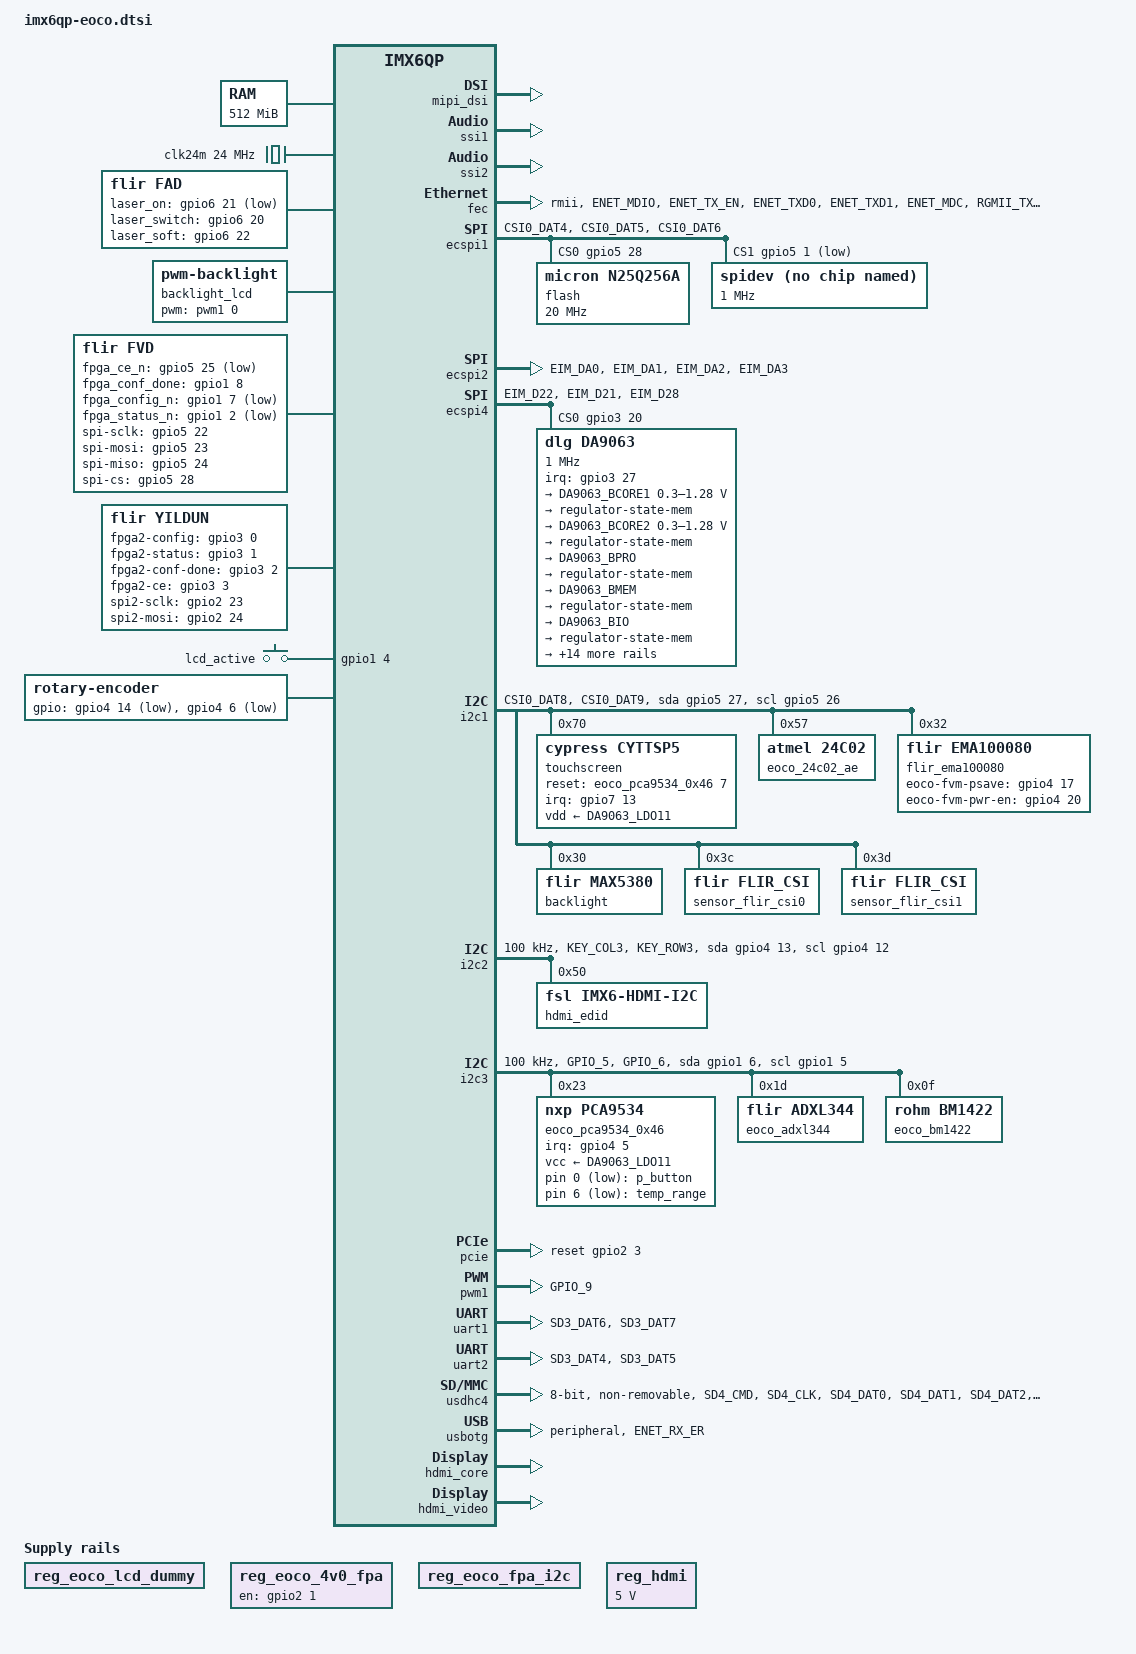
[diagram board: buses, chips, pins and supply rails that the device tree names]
/*
 * Copyright 2015 FLIR Systems.
 *
 * The code contained herein is licensed under the GNU General Public
 * License. You may obtain a copy of the GNU General Public License
 * Version 2 or later at the following locations:
 *
 * http://www.opensource.org/licenses/gpl-license.html
 * http://www.gnu.org/copyleft/gpl.html
 */

#include <dt-bindings/gpio/gpio.h>
#include <dt-bindings/regulator/dlg,da9063-regulator.h>

/ {
	aliases {
		mxcfb0 = &mxcfb1;
		mxcfb1 = &mxcfb2;
		mxcfb2 = &mxcfb3;

		mmc0 = &usdhc4;
		mmc1 = &usdhc1;
		mmc2 = &usdhc2;
		mmc3 = &usdhc3;

		ethernet0 = &fec;
	};

	memory {
		reg = <0x10000000 0x20000000>;
	};

	clocks {
		clk24m: clk24m {
			compatible = "fixed-clock";
			#clock-cells = <0>;
			clock-frequency = <24000000>;
		};
	};

	regulators {
		compatible = "simple-bus";

		reg_eoco_lcd_dummy: reg_eoco_lcd_dummy {
			compatible = "regulator-fixed";
			regulator-name = "lcd_dummy";
		};

		reg_eoco_4v0_fpa: eoco_4v0_fpa {
			compatible = "regulator-fixed";
			regulator-name = "4V0_fpa";
			gpio = <&gpio2 1 0>;
			enable-active-high;
		};

		/*Removed on eoco-d but required by fvdk*/
		reg_eoco_fpa_i2c: eoco_fpa_i2c {
			compatible = "regulator-fixed";
			regulator-name = "fpa_i2c";
			enable-active-high;
		};

		/* Done with IC22 TPS2553DBV on eoco */
		reg_hdmi: regulator-hdmi {
			compatible = "regulator-fixed";
			regulator-name = "hdmi-5v-supply";
			regulator-min-microvolt = <5000000>;
			regulator-max-microvolt = <5000000>;
		};
	};

	fad {
		compatible = "flir,fad";
		hasLaser = <1>;
		HasSoftwareControlledLaser = <1>;
		hasGPS = <1>;
		// "Laser_on" corresponds to "laser_on_time" and acts as input for
		// Reading current state of laser
		laser_on-gpios = <&gpio6 21 GPIO_ACTIVE_LOW>;
		// "Laser_switch" corresponds to "laser_on" and acts as enable/disable
		// for laser function
		laser_switch-gpios = <&gpio6 20 GPIO_ACTIVE_HIGH>;
		// "Laser_soft" corresponds to "laser_light" and acts as software controlled
		// laser button override. This differs from roco-design were laser_soft bypass
		// laser_on.
		laser_soft-gpios = <&gpio6 22 GPIO_ACTIVE_HIGH>;
		standbyMinutes = <360>;  // 360 = 6 hours
	};

	boards{
		mainboard{
			article = <0>;
			rev = <0>;
		};
		evro{
			article = <0>;
			rev = <0>;
		};
	};

	u-boot{
		version = "Unkown";
		reset-cause = "Unkown";
	};

	mxcfb1: fb@0 {
		compatible = "fsl,mxc_sdc_fb";
		disp_dev = "mipi_dsi";
		interface_pix_fmt = "RGB24";
		mode_str ="TRULY-VGA";
		default_bpp = <32>;
		int_clk = <0>;
		late_init = <0>;
		bootlogo = <0x0 0x0>;
		status = "okay";
	};

	mxcfb2: fb@1 {
		compatible = "fsl,mxc_sdc_fb";
		interface_pix_fmt = "RGB24";
		default_bpp = <32>;
		int_clk = <0>;
		late_init = <0>;
		status = "okay";
		disp_dev = "lcd";
		mode_str ="FLIR-VF";
	};

	mxcfb3: fb@2 {
		compatible = "fsl,mxc_sdc_fb";
		disp_dev = "hdmi";
		interface_pix_fmt = "RGB24";
		mode_str ="640x480M@60";
		default_bpp = <32>;
		int_clk = <0>;
		late_init = <0>;
		status = "okay";
	};

	backlight_lcd: backlight_lcd {
		compatible = "pwm-backlight";
		pwms = <&pwm1 0 50000>; //50us=20KHz 
		brightness-levels = <0 10 20 30 40 50 60 70 80 90 100>;
		default-brightness-level = <7>;
		status = "okay";
	};

	v4l2_cap_0 {
		compatible = "fsl,imx6q-v4l2-capture";
		ipu_id = <0>;
		csi_id = <0>;
		videoflow_method = <1>;
		mclk_source = <0>;
		status = "okay";
	};

	v4l2_cap_1 {
		compatible = "fsl,imx6q-v4l2-capture";
		ipu_id = <0>;
		csi_id = <1>;
		videoflow_method = <1>;
		mclk_source = <0>;
		status = "okay";
	};

	v4l2_out {
		compatible = "fsl,mxc_v4l2_output";
		status = "okay";
	};

	fvd {
		compatible = "flir,fvd";
		pinctrl-names = "default";
		pinctrl-0 = <&pinctrl_fvd>;

		fpga_ce_n = <&gpio5 25 GPIO_ACTIVE_LOW>;
		fpga_conf_done = <&gpio1 8 GPIO_ACTIVE_HIGH>;
		fpga_config_n = <&gpio1 7 GPIO_ACTIVE_LOW>;
		fpga_status_n = <&gpio1 2 GPIO_ACTIVE_LOW>;

		spi-sclk-gpio = <&gpio5 22 GPIO_ACTIVE_HIGH>;
		spi-mosi-gpio = <&gpio5 23 GPIO_ACTIVE_HIGH>;
		spi-miso-gpio = <&gpio5 24 GPIO_ACTIVE_HIGH>;
		spi-cs-gpio = <&gpio5 28 GPIO_ACTIVE_HIGH>;
	};

	lcd@0 {
		compatible = "fsl,lcd";
		ipu_id = <0>;
		disp_id = <0>;
		default_ifmt = "RGB24";
		pinctrl-names = "default";
		pinctrl-0 = <&pinctrl_ipu1>;
		display = <&lcdtiming>;
		status = "okay";
	};

	lcdtiming: lcdtiming {
		display-timings {
			timing {
				clock-frequency = <25175000>;
				hactive = <800>;
				vactive = <600>;
				hfront-porch = <40>;
				hback-porch = <88>;
				hsync-len = <128>;
				vback-porch = <16>;
				vfront-porch = <1>;
				vsync-len = <23>;
				pixelclk-active = <0>;
			};
		};
	};

	yildun {
		compatible = "flir,yildun";
		pinctrl-names = "default", "idle";
		pinctrl-0 = <&pinctrl_yildun_spi>;
		pinctrl-1 = <&pinctrl_yildun_spi_idle>;
		fpga2-config-gpio	= <&gpio3 0 GPIO_ACTIVE_HIGH>;
		fpga2-status-gpio	= <&gpio3 1 GPIO_ACTIVE_HIGH>;
		fpga2-conf-done-gpio 	= <&gpio3 2 GPIO_ACTIVE_HIGH>;
		fpga2-ce-gpio		= <&gpio3 3 GPIO_ACTIVE_HIGH>;
		spi2-sclk-gpio		= <&gpio2 23 GPIO_ACTIVE_HIGH>;
		spi2-mosi-gpio		= <&gpio2 24 GPIO_ACTIVE_HIGH>;
	};

	eobu_switch {
		compatible = "gpio-keys";
		autorepeat;
		p_button {
			label = "p_button";
			gpio-key;
			gpios = <&eoco_pca9534_0x46 0 GPIO_ACTIVE_LOW>;
			linux,code = <KEY_F9>;
		};
		temp_range {
			label = "temp_range";
			gpio-key;
			gpios = <&eoco_pca9534_0x46 6 GPIO_ACTIVE_LOW>;
			linux,code = <KEY_F4>;
		};
	};

	eoco_switch {
		compatible = "gpio-keys";
		autorepeat;
		lcd_active {
			label = "lcd_active";
			gpio-key;
			gpios =  <&gpio1 4 GPIO_ACTIVE_HIGH>;
			linux,code = <KEY_F20>;
		};
	};

	rotary: rotary-encoder {
		compatible = "rotary-encoder";
		pinctrl-names = "default";
		pinctrl-0 = <&pinctrl_rotary>;
		gpios = <&gpio4 14 GPIO_ACTIVE_LOW>, <&gpio4 6 GPIO_ACTIVE_LOW>;
		linux,axis = <REL_HWHEEL>;
		rotary-encoder,encoding = "gray";
		rotary-encoder,relative-axis;
		rotary-encoder,steps-per-period = <1>;
		status = "okay";
	};
};

/* LCD */
&mipi_dsi {
	dev_id = <0>;
	disp_id = <1>;
	lcd_panel = "TRULY-VGA";
	disp-power-on-supply = <&reg_eoco_lcd_dummy>;
	status = "okay";
	rotate-primary-180;
};

&ssi1 {
	status = "okay";
        fsl,mode = "i2s-slave";
};

&ssi2 {
	status = "okay";
};


&fec {
	pinctrl-names = "default";
	pinctrl-0 = <&pinctrl_enet>;
	phy-mode = "rmii";
	status = "okay";

};

&ecspi1 {
	status = "okay";
	fsl,spi-num-chipselects = <3>;
	pinctrl-names = "default";
	pinctrl-0 = <&pinctrl_ecspi1>;

	cs-gpios = <&gpio5 28 0>,  <&gpio5 1 3>;

	flash: m25p80@0 {
		compatible = "micron,n25q256a", "jedec,spi-nor";
		spi-max-frequency = <20000000>;
		reg = <0>;
	};

	spidev: spidev@2 {
		status = "okay";
		compatible = "linux,spidev";
		spi-max-frequency = <1000000>;
		reg = <1>;
	};

};

&ecspi2 {
	pinctrl-names = "default";
	pinctrl-0 = <&pinctrl_yildun_fpga>;
	status = "okay";
	fsl,spi-num-chipselects = <1>;
	cs-gpios = <&gpio2 27 0>;	// Fake pin not used
};

&wdog1 {
	//Disable internal watchdog in favor of da9063-wdt
	status = "disable";
};

&ecspi4 {
	pinctrl-names = "default";
	pinctrl-0 = <&pinctrl_ecspi4>;
	status = "okay";
	fsl,spi-num-chipselects = <1>;
	cs-gpios = <&gpio3 20 0>;

	da9063: da9063@0 {
		compatible = "dlg,da9063";
		reg = <0>;
		spi-max-frequency = <1000000>;
		interrupt-parent = <&gpio3>;
		interrupts = <27 2>;
		interrupt-controller;
		#interrupt-cells = <1>;
		pinctrl-names = "default";
		pinctrl-0 = <&pinctrl_da9063>;

		poweroff {
			compatible = "dlg,da9063-poweroff";
			/* Optional gpio-based shutdown used by EOCO*/
			pwroff-gpio = <&gpio2 30 GPIO_ACTIVE_HIGH>;
		};

		rtc {
			compatible = "dlg,da9063-rtc";
			interrupts = <1 2>;
			interrupts-names = "ALARM" , "TIMER";
			interrupt-parent = <&da9063>;
		};

		onkey {
			compatible = "dlg,da9063-onkey";
			interrupts = <0>;
			interrupts-names = "ONKEY";
			interrupt-parent = <&da9063>;
			dlg,key-power;
			gpio-key,wakeup;
			linux,code = <66>;
		};

		hwmon {
			compatible = "dlg,da9063-hwmon";
			interrupts = <3>;
			interrupts-names = "HWMON";
			interrupt-parent = <&da9063>;
			dlg,tjunc-offset = <(-5)>;
		};

		gpio_extender: gpio {
			compatible = "dlg,da9063-gpio";
			gpio-controller;
			#gpio-cells = <2>;
		};

		watchdog {
			compatible = "dlg,da9063-watchdog";
			timeout-sec = <30>;
		};

		charge_wake: charge_wake {
			compatible = "dlg,da9063-wake";
		};

		reset{
			compatible = "dlg,da9063-reset";
		};


		/* For DA9063 revision AD */
		regulators {
			compatible = "dlg,da9063-regulators";
			/*dlg,bcores_merged;*/
			/*dlg,bmem_bio_merged;*/
			interrupts = <8>;
			interrupts-names = "LDO_LIM";
			interrupt-parent = <&da9063>;

			/* VCCARM */
			DA9063_BCORE1:bcore1  {
				regulator-name = "DA9063_BCORE1";
				regulator-boot-on;
				regulator-always-on;
				regulator-min-microvolt = <300000>;
				regulator-max-microvolt = <1280000>;

				/*regulator-initial-mode = <1>;*/
				regulator-initial-mode = <DA9063_BUCK_MODE_SYNC>;
				/* regulator-initial-state = "suspend-mem"; */
				regulator-allowed-modes = <DA9063_BUCK_MODE_SLEEP>, <DA9063_BUCK_MODE_SYNC>;
				regulator-state-mem {
					regulator-mode = <DA9063_BUCK_MODE_SLEEP>;
					regulator-suspend-uv= <950000>;
					regulator-off-in-suspend;
				};
			};

			/* VCCSOC */
			DA9063_BCORE2:bcore2  {
				regulator-name = "DA9063_BCORE2";
				regulator-boot-on;
				regulator-always-on;
				regulator-min-microvolt = <300000>;
				regulator-max-microvolt = <1280000>;

				regulator-initial-mode = <DA9063_BUCK_MODE_SYNC>;
				/* regulator-initial-state = "suspend-mem"; */
				regulator-allowed-modes = <DA9063_BUCK_MODE_SLEEP>, <DA9063_BUCK_MODE_SYNC>;
				regulator-state-mem {
					regulator-mode = <DA9063_BUCK_MODE_SLEEP>;
					regulator-suspend-uv= <950000>;
					regulator-off-in-suspend;
				};
			};

			/* 1V0_FPGA */
			DA9063_BPRO:bpro  {
				regulator-initial-mode = <DA9063_BUCK_MODE_SYNC>;
				regulator-name = "DA9063_BPRO";
				regulator-boot-on;
				regulator-allowed-modes = <DA9063_BUCK_MODE_SLEEP>, <DA9063_BUCK_MODE_SYNC>;
				regulator-state-mem {
					regulator-mode = <DA9063_BUCK_MODE_SLEEP>;
				};
			};

			/* 1V1D_FPGA2 */
			DA9063_BMEM:bmem  {
				regulator-initial-mode = <DA9063_BUCK_MODE_SYNC>;
				regulator-name = "1V1D_FPGA";
				regulator-boot-on;
				regulator-always-on;
				regulator-allowed-modes = <DA9063_BUCK_MODE_SLEEP>, <DA9063_BUCK_MODE_SYNC>;
				regulator-state-mem {
					regulator-mode = <DA9063_BUCK_MODE_SLEEP>;
				};
			};

			/* 1V8D */
			DA9063_BIO:bio  {
				regulator-initial-mode = <DA9063_BUCK_MODE_SYNC>;
				regulator-name = "DA9063_BIO";
				regulator-boot-on;
				regulator-always-on;
				regulator-allowed-modes = <DA9063_BUCK_MODE_SLEEP>, <DA9063_BUCK_MODE_SYNC>;
				regulator-state-mem {
					regulator-mode = <DA9063_BUCK_MODE_SLEEP>;
				};
			};

			/* 1V2D */
			DA9063_BPERI:bperi  {
				regulator-initial-mode = <DA9063_BUCK_MODE_SYNC>;
				regulator-name = "DA9063_BPERI";
				regulator-boot-on;
				regulator-always-on;
				regulator-allowed-modes = <DA9063_BUCK_MODE_SLEEP>, <DA9063_BUCK_MODE_SYNC>;
				regulator-state-mem {
					regulator-mode = <DA9063_BUCK_MODE_SLEEP>;
				};
			};

			/* 1V2D_FPGA2 */
			DA9063_LDO2:ldo2  {
				regulator-name = "DA9063_LDO2";
			};

			/* 1V8D_FPGA2 */
			DA9063_LDO3:ldo3  {
				regulator-name = "DA9063_LDO3";
			};

			/* SD1_VCC */
			DA9063_LDO4:ldo4  {
				regulator-name = "DA9063_LDO4";
				regulator-min-microvolt = <900000>;
				regulator-max-microvolt = <3440000>;
			};

			/* 2V5D_FPGA2 */
			DA9063_LDO6:ldo6  {
				regulator-name = "DA9063_LDO6";
			};

			/* 3V15D_SD */
			DA9063_LDO7:ldo7  {
				regulator-name = "DA9063_LDO7";
			};

			/* 3V15D_FPGA */
			DA9063_LDO8:ldo8  {
				regulator-name = "DA9063_LDO8";
				regulator-boot-on;
			};

			/* VCCSNVS */
			DA9063_LDO9:ldo9  {
				regulator-name = "DA9063_LDO9";
				regulator-boot-on;
				regulator-always-on;
			};

			/* 2V5D_FPGA */
			DA9063_LDO10:ldo10  {
				regulator-name = "DA9063_LDO10";
				regulator-boot-on;
			};

			/* 3V15D */
			DA9063_LDO11:ldo11  {
				regulator-name = "DA9063_LDO11";
				regulator-boot-on;
				regulator-always-on;
			};

			/* 1V8D_FPGA */
			DA9063_CORE_SW:core-sw  {
				regulator-name = "DA9063_CORE_SW";
				regulator-boot-on;
			};

			/* 1V2D_FPGA */
			DA9063_PERI_SW:peri-sw  {
				regulator-name = "DA9063_PERI_SW";
				regulator-boot-on;
			};

			/* CLK32k768 */
			DA9063_32K_OUT:out_32k  {
				regulator-name = "DA9063_32K_OUT";
			};
		};
	};
};

&i2c1 {
	lock-frequency = <100000>;
	pinctrl-names = "default", "gpio";
	pinctrl-0 = <&pinctrl_i2c1>;
	pinctrl-1 = <&pinctrl_i2c1_gpio>;
	scl-gpios = <&gpio5 26 GPIO_ACTIVE_HIGH>;
	sda-gpios = <&gpio5 27 GPIO_ACTIVE_HIGH>;
	status = "okay";
	touchscreen:tsc@70 {
		status = "okay";
		compatible = "cypress,cyttsp5";
		reg = <0x70>;
		vdd-supply = <&DA9063_LDO11>;

		pinctrl_names = "default";
		interrupt-parent = <&gpio7>;
		interrupts = <13 IRQ_TYPE_EDGE_FALLING>;
		reset-gpios = <&eoco_pca9534_0x46 7 GPIO_ACTIVE_HIGH>;
		touchscreen-size-x = <640>;
		touchscreen-size-y = <480>;
		touchscreen-inverted-x;
		touchscreen-inverted-y;
	};

	/* EEPROM */
	eoco_24c02_ae: eoco_24c02_ae@57 {
		compatible = "atmel,24c02";
		reg = <0x57>;
		pagesize = <16>;
	};
	flir_ema100080: flir_ema100080@32 {
		compatible = "flir,ema100080";
		pinctrl-names = "default";
		pinctrl-0 = <&pinctrl_viewfinder>;

		eoco-fvm-psave-gpio = <&gpio4 17 GPIO_ACTIVE_HIGH>;
		eoco-fvm-pwr-en-gpio = <&gpio4 20 GPIO_ACTIVE_HIGH>;

		reg = <0x32>;
		// These were taken from old ce driver. It is essentially SVGA_60, from page 45 in the eMagin 100080 datasheet
		// So this is the setup for the 800x600, this needs to match what is setup in mxc_lcdif (nxp code)
		i2c-config-cmds =	<0x01 0x80>, // Red Analog Input Gain
					<0x02 0x38>, // Red Analog Input DC Offset
					<0x03 0x80>, // Green Analog Input Gain
					<0x04 0x38>, // Green Analog Input DC Offset
					<0x05 0x80>, // Blue Analog Input Gain
					<0x06 0x38>, // Blue Analog Input DC Offset
					<0x07 0x80>, // Mono Analog Input Gain
					<0x08 0x38>, // Mono Analog Input DC Offset
					<0x09 0x00>, // Vertical Mode Settings (SVGA 600 rows, RGB)
					<0x0A 0x02>, // HMODE (SVGA 800 columns, internal PLL, no screen saver)
					<0x0D 0x00>, // HRATE_L (Horizontal Shift Frame Rate = 0x8000 (every 9 minute))
					<0x0E 0x80>, // HRATE_U
					<0x0F 0x1E>, // PLL_L (Feedback Divider=0x41E, Post-Scaler Divider=1)
					<0x10 0x0C>, // PLL_U
					<0x11 0x0C>, // PIF (Phase Interpolator Frequency = 40 MHz)
					<0x12 0x00>, // PI2 (Phase Adjustment)
					<0x13 0xD4>, // HSTART (Horizontal Active Start Count)
					<0x14 0x19>, // VSTART (Vertical Active Start Count)
					<0x15 0xD8>, // HBLK
					<0x16 0x0C>, // HDEL
					<0x17 0x02>, // PWDN (disable MONO analog input)
					<0x18 0x80>, // ATB (power control through PWDN register)
					<0x1A 0x08>; // TRIM (automatic and periodic calibration)
	};
	backlight: backlight_vf@30 {
		reg = <0x30>;
		compatible = "flir,max5380";
		default-brightness = <0x40>;
		max-brightness = <255>;
	};

	sensor_flir_csi0: csi0@3c {
		compatible = "flir,flir_csi";
		reg = <0x3c>;
		pinctrl-names = "default";
		pinctrl-0 = <&pinctrl_evco_csi0>;
		clocks = <&clks 201>;
		clock-names = "csi_mclk";
		ipu_id = <0>;
		csi_id = <0>;
		mclk = <24000000>;
		mclk_source = <0>;
		capturemode = <0>;
		format = "RGB4";
		status = "okay";
	};

	sensor_flir_csi1: csi1@3d {
		compatible = "flir,flir_csi";
		reg = <0x3d>;
		pinctrl-names = "default";
		pinctrl-0 = <&pinctrl_evco_csi1>;
		clocks = <&clks 201>;
		clock-names = "csi_mclk";
		ipu_id = <0>;
		csi_id = <1>;
		mclk = <24000000>;
		mclk_source = <0>;
		capturemode = <5>;
		format = "UYVY";
		status = "okay";
	};
};


&i2c2 {
	clock-frequency = <100000>;
	pinctrl-names = "default", "gpio";
	pinctrl-0 = <&pinctrl_i2c2>;
	pinctrl-1 = <&pinctrl_i2c2_gpio>;
	scl-gpios = <&gpio4 12 GPIO_ACTIVE_HIGH>;
	sda-gpios = <&gpio4 13 GPIO_ACTIVE_HIGH>;
	status = "okay";

	hdmi_edid: edid@50 {
		compatible = "fsl,imx6-hdmi-i2c";
		reg = <0x50>;
	};
};


&i2c3 {
	clock-frequency = <100000>;
	pinctrl-names = "default", "gpio";
	pinctrl-0 = <&pinctrl_i2c3>;
	pinctrl-1 = <&pinctrl_i2c3_gpio>;
	scl-gpios = <&gpio1 5 GPIO_ACTIVE_HIGH>;
	sda-gpios = <&gpio1 6 GPIO_ACTIVE_HIGH>;
	// This is an optional i2c slave reset used to reset aduc-device
	slave-reset-gpio = <&gpio2 28 GPIO_ACTIVE_HIGH>;
	status = "okay";

	eoco_pca9534_0x46: eoco_pca9534_0x46@23 {
		compatible = "nxp,pca9534";
		reg = <0x23>;
		gpio-controller;
		status = "okay";
		vcc-supply = <&DA9063_LDO11>;
		interrupt-parent = <&gpio4>; //I2C3_Alert_n
		interrupts = <5 IRQ_TYPE_EDGE_FALLING>;
		interrupt-controller;
		interrupts-shared;
		#interrupt-cells = <2>;
		#gpio-cells = <2>;
	};

	/* ACCELEROMETER */
	eoco_adxl344: eoco_adxl344@1d {
		compatible = "flir,adxl344";
		reg = <0x1d>;
		// Remap axes for appcore
		axis-map-x = <0>;
		axis-map-y = <2>;
		axis-map-z = <1>;
		negate-y;
		is-sensor-accel;
	};

	/* MAGNETOMETER */
	eoco_bm1422: eoco_bm1422@f {
		compatible = "rohm,bm1422";
		status = "okay";
		reg = <0xf>;
		// Remap axes for appcore
		axis-map-x = <1>; // X = Y
		axis-map-y = <2>; // Y = -Z
		negate-y;
		axis-map-z = <0>; // Z = -X
		negate-z;
	};
};

&iomuxc {
	imx6qp-eoco {
		pinctrl_pwm1: pwm1grp {
			fsl,pins = <
				MX6QDL_PAD_GPIO_9__PWM1_OUT		0x1b0b1
			>;
		};

		pinctrl_enet: enetgrp {
			fsl,pins = <
				MX6QDL_PAD_ENET_MDIO__ENET_MDIO		0x1b0b0
				MX6QDL_PAD_ENET_TX_EN__ENET_TX_EN	0x1b0b0
				MX6QDL_PAD_ENET_TXD0__ENET_TX_DATA0	0x1b0b0
				MX6QDL_PAD_ENET_TXD1__ENET_TX_DATA1	0x1b0b0
				MX6QDL_PAD_ENET_MDC__ENET_MDC		0x1b0b0
				MX6QDL_PAD_RGMII_TX_CTL__ENET_REF_CLK	0x1b0b0
				MX6QDL_PAD_ENET_CRS_DV__ENET_RX_EN	0x1b0b0
				MX6QDL_PAD_ENET_RXD0__ENET_RX_DATA0	0x1b0b0
				MX6QDL_PAD_ENET_RXD1__ENET_RX_DATA1	0x1b0b0
			>;
		};

		pinctrl_ecspi1: ecspi1grp {
			fsl,pins = <
				MX6QDL_PAD_CSI0_DAT4__ECSPI1_SCLK 0x100b1
				MX6QDL_PAD_CSI0_DAT5__ECSPI1_MOSI 0x100b1
				MX6QDL_PAD_CSI0_DAT6__ECSPI1_MISO 0x100b1
			>;
		};

		pinctrl_ecspi4: ecspi4grp {
			fsl,pins = <
				MX6QDL_PAD_EIM_D22__ECSPI4_MISO 0x100b1
				MX6QDL_PAD_EIM_D21__ECSPI4_SCLK 0x100b1
				MX6QDL_PAD_EIM_D28__ECSPI4_MOSI 0x100b1
			>;
		};

		pinctrl_i2c1: i2c1grp {
			fsl,pins = <
				MX6QDL_PAD_CSI0_DAT8__I2C1_SDA  0x4001b8b1
				MX6QDL_PAD_CSI0_DAT9__I2C1_SCL  0x4001b8b1
			>;
		};

		pinctrl_i2c1_gpio: i2c1gpiogrp {
			fsl,pins = <
				MX6QDL_PAD_CSI0_DAT8__GPIO5_IO26 0x4001b8b1
				MX6QDL_PAD_CSI0_DAT9__GPIO5_IO27 0x4001b8b1
			>;
		};

		pinctrl_i2c2: i2c2grp {
			fsl,pins = <
				MX6QDL_PAD_KEY_COL3__I2C2_SCL  0x4001b8b1
				MX6QDL_PAD_KEY_ROW3__I2C2_SDA  0x4001b8b1
			>;
		};

		pinctrl_i2c2_gpio: i2c2gpiogrp {
			fsl,pins = <
				MX6QDL_PAD_KEY_COL3__GPIO4_IO12 0x4001b8b1
				MX6QDL_PAD_KEY_ROW3__GPIO4_IO13 0x4001b8b1
			>;
		};

		pinctrl_i2c3: i2c3grp {
			fsl,pins = <
				MX6QDL_PAD_GPIO_5__I2C3_SCL  0x4001b8b1
				MX6QDL_PAD_GPIO_6__I2C3_SDA  0x4001b8b1
			>;
		};

		pinctrl_i2c3_gpio: i2c3gpiogrp {
			fsl,pins = <
				MX6QDL_PAD_GPIO_5__GPIO1_IO05 0x4001b8b1
				MX6QDL_PAD_GPIO_6__GPIO1_IO06 0x4001b8b1
				MX6QDL_PAD_EIM_EB0__GPIO2_IO28	0x00009030
			>;
		};

		pinctrl_uart1: uart1grp {
			fsl,pins = <
				MX6QDL_PAD_SD3_DAT6__UART1_RX_DATA 0x1b0b1
				MX6QDL_PAD_SD3_DAT7__UART1_TX_DATA 0x1b0b1
			>;
		};

		pinctrl_uart2: uart2grp {
			fsl,pins = <
				MX6QDL_PAD_SD3_DAT4__UART2_RX_DATA   0x1b0b1
				MX6QDL_PAD_SD3_DAT5__UART2_TX_DATA   0x1b0b1
			>;
		};

		pinctrl_usdhc4: usdhc4grp {
			fsl,pins = <
				MX6QDL_PAD_SD4_CMD__SD4_CMD	0x170B9
				MX6QDL_PAD_SD4_CLK__SD4_CLK	0x100B9
				MX6QDL_PAD_SD4_DAT0__SD4_DATA0 0x170B9
				MX6QDL_PAD_SD4_DAT1__SD4_DATA1 0x170B9
				MX6QDL_PAD_SD4_DAT2__SD4_DATA2 0x170B9
				MX6QDL_PAD_SD4_DAT3__SD4_DATA3 0x170B9
				MX6QDL_PAD_SD4_DAT4__SD4_DATA4 0x170B9
				MX6QDL_PAD_SD4_DAT5__SD4_DATA5 0x170B9
				MX6QDL_PAD_SD4_DAT6__SD4_DATA6 0x170B9
				MX6QDL_PAD_SD4_DAT7__SD4_DATA7 0x170B9
			>;
		};

		pinctrl_da9063: da9063grp {
			fsl,pins = <
				MX6QDL_PAD_EIM_D27__GPIO3_IO27 0x1b0b0
			>;
		};


		pinctrl_usbotg: usbotggrp {
			fsl,pins = <
				MX6QDL_PAD_ENET_RX_ER__USB_OTG_ID		0x17059
			>;
		};
		pinctrl_evco_csi0: ipuevcogrp-0 { /* parallel camera - LCD image */
			fsl,pins = <
				MX6QDL_PAD_CSI0_DAT12__IPU1_CSI0_DATA12		0x80000000
				MX6QDL_PAD_CSI0_DAT13__IPU1_CSI0_DATA13		0x80000000
				MX6QDL_PAD_CSI0_DAT14__IPU1_CSI0_DATA14		0x80000000
				MX6QDL_PAD_CSI0_DAT15__IPU1_CSI0_DATA15		0x80000000
				MX6QDL_PAD_CSI0_DAT16__IPU1_CSI0_DATA16		0x80000000
				MX6QDL_PAD_CSI0_DAT17__IPU1_CSI0_DATA17		0x80000000
				MX6QDL_PAD_CSI0_DAT18__IPU1_CSI0_DATA18		0x80000000
				MX6QDL_PAD_CSI0_DAT19__IPU1_CSI0_DATA19		0x80000000
				MX6QDL_PAD_CSI0_PIXCLK__IPU1_CSI0_PIXCLK	0x0000a0b0
				MX6QDL_PAD_CSI0_MCLK__IPU1_CSI0_HSYNC		0x80000000
				MX6QDL_PAD_CSI0_VSYNC__IPU1_CSI0_VSYNC		0x80000000
				MX6QDL_PAD_CSI0_DATA_EN__IPU1_CSI0_DATA_EN	0x80000000
				>;
		};

		pinctrl_evco_csi1: ipuevcogrp-1 { /* parallel camera - visual */
			fsl,pins = <
				MX6QDL_PAD_EIM_A17__IPU2_CSI1_DATA12	0x80000000
				MX6QDL_PAD_EIM_A18__IPU2_CSI1_DATA13	0x80000000
				MX6QDL_PAD_EIM_A19__IPU2_CSI1_DATA14	0x80000000
				MX6QDL_PAD_EIM_A20__IPU2_CSI1_DATA15	0x80000000
				MX6QDL_PAD_EIM_A21__IPU2_CSI1_DATA16	0x80000000
				MX6QDL_PAD_EIM_A22__IPU2_CSI1_DATA17	0x80000000
				MX6QDL_PAD_EIM_A23__IPU2_CSI1_DATA18	0x80000000
				MX6QDL_PAD_EIM_A24__IPU2_CSI1_DATA19	0x80000000
				MX6QDL_PAD_EIM_A16__IPU2_CSI1_PIXCLK	0x0000a0b0
				MX6QDL_PAD_EIM_EB3__IPU2_CSI1_HSYNC	0x80000000
				MX6QDL_PAD_EIM_D29__IPU2_CSI1_VSYNC	0x80000000
				MX6QDL_PAD_EIM_D23__IPU2_CSI1_DATA_EN	0x80000000
				>;
		};

		pinctrl_viewfinder: vfgrp {
			fsl,pins = <
				MX6QDL_PAD_DI0_PIN15__GPIO4_IO17	0x100b1
				MX6QDL_PAD_DI0_PIN4__GPIO4_IO20     0x100b1
			>;
		};

		pinctrl_ipu1: ipu1grp {
			fsl,pins = <
				MX6QDL_PAD_DI0_DISP_CLK__IPU1_DI0_DISP_CLK 0x10
				MX6QDL_PAD_DI0_PIN2__IPU1_DI0_PIN02        0x10
				MX6QDL_PAD_DI0_PIN3__IPU1_DI0_PIN03        0x10
				MX6QDL_PAD_DISP0_DAT0__IPU1_DISP0_DATA00   0x10
				MX6QDL_PAD_DISP0_DAT1__IPU1_DISP0_DATA01   0x10
				MX6QDL_PAD_DISP0_DAT2__IPU1_DISP0_DATA02   0x10
				MX6QDL_PAD_DISP0_DAT3__IPU1_DISP0_DATA03   0x10
				MX6QDL_PAD_DISP0_DAT4__IPU1_DISP0_DATA04   0x10
				MX6QDL_PAD_DISP0_DAT5__IPU1_DISP0_DATA05   0x10
				MX6QDL_PAD_DISP0_DAT6__IPU1_DISP0_DATA06   0x10
				MX6QDL_PAD_DISP0_DAT7__IPU1_DISP0_DATA07   0x10
				MX6QDL_PAD_DISP0_DAT8__IPU1_DISP0_DATA08   0x10
				MX6QDL_PAD_DISP0_DAT9__IPU1_DISP0_DATA09   0x10
				MX6QDL_PAD_DISP0_DAT10__IPU1_DISP0_DATA10  0x10
				MX6QDL_PAD_DISP0_DAT11__IPU1_DISP0_DATA11  0x10
				MX6QDL_PAD_DISP0_DAT12__IPU1_DISP0_DATA12  0x10
				MX6QDL_PAD_DISP0_DAT13__IPU1_DISP0_DATA13  0x10
				MX6QDL_PAD_DISP0_DAT14__IPU1_DISP0_DATA14  0x10
				MX6QDL_PAD_DISP0_DAT15__IPU1_DISP0_DATA15  0x10
				MX6QDL_PAD_DISP0_DAT16__IPU1_DISP0_DATA16  0x10
				MX6QDL_PAD_DISP0_DAT17__IPU1_DISP0_DATA17  0x10
				MX6QDL_PAD_DISP0_DAT18__IPU1_DISP0_DATA18  0x10
				MX6QDL_PAD_DISP0_DAT19__IPU1_DISP0_DATA19  0x10
				MX6QDL_PAD_DISP0_DAT20__IPU1_DISP0_DATA20  0x10
				MX6QDL_PAD_DISP0_DAT21__IPU1_DISP0_DATA21  0x10
				MX6QDL_PAD_DISP0_DAT22__IPU1_DISP0_DATA22  0x10
				MX6QDL_PAD_DISP0_DAT23__IPU1_DISP0_DATA23  0x10
			>;
		};

		pinctrl_yildun_fpga: yildunfpgagrp {
			fsl,pins = <
				MX6QDL_PAD_EIM_DA0__GPIO3_IO00	0x10030
				MX6QDL_PAD_EIM_DA1__GPIO3_IO01	0x10030
				MX6QDL_PAD_EIM_DA2__GPIO3_IO02	0x10030
				MX6QDL_PAD_EIM_DA3__GPIO3_IO03	0x10030
			>;
		};

		pinctrl_yildun_spi: yildunspigrp {
			fsl,pins = <
				MX6QDL_PAD_EIM_CS0__ECSPI2_SCLK	0x100b1
				MX6QDL_PAD_EIM_CS1__ECSPI2_MOSI	0x100b1
				MX6QDL_PAD_EIM_OE__ECSPI2_MISO	0x100b1
			>;
		};

		pinctrl_yildun_spi_idle: yildunspiidlegrp {
			fsl,pins = <
				MX6QDL_PAD_EIM_CS0__GPIO2_IO23	0x100b1
				MX6QDL_PAD_EIM_CS1__GPIO2_IO24	0x100b1
				MX6QDL_PAD_EIM_OE__GPIO2_IO25	0x100b1
			>;
		};

		pinctrl_fvd: fvdgrp {
			fsl,pins = <
				MX6QDL_PAD_EIM_D16__GPIO3_IO16  0x10010
				MX6QDL_PAD_EIM_D17__GPIO3_IO17  0x10010
				MX6QDL_PAD_EIM_D18__GPIO3_IO18  0x10010
				MX6QDL_PAD_EIM_D19__GPIO3_IO19  0x10010
			>;
		};

		pinctrl_rotary: rotarygrp {
			fsl,pins = <
				MX6QDL_PAD_KEY_COL4__GPIO4_IO14            0x0001B0B0
				MX6QDL_PAD_KEY_COL0__GPIO4_IO06            0x0001B0B0
			>;
		};
	};
};

&pcie {
	status = "okay";
	reset-gpio = <&gpio2 3 0>;
};

&pwm1 {
	#pwm-cells = <2>;
	pinctrl-names = "default";
	pinctrl-0 = <&pinctrl_pwm1>;
	status = "okay";
};

/*Active serial port*/
&uart1 {
	pinctrl-names = "default";
	pinctrl-0 = <&pinctrl_uart1>;
	status = "okay";
};

/*Secondary serial port*/
&uart2 {
	pinctrl-names = "default";
	pinctrl-0 = <&pinctrl_uart2>;
	status = "okay";
};


/*eMMC*/
&usdhc4 {
	pinctrl-names = "default";
	pinctrl-0 = <&pinctrl_usdhc4>;
	bus-width = <8>;
	non-removable;
	no-1-8-v;
	status = "okay";
};

/* USB */
&usbotg {
	pinctrl-names = "default";
	pinctrl-0 = <&pinctrl_usbotg>;
	disable-over-current;
	status = "okay";
//	imx6-usb-charger-detection;
//	dr_mode = "host";
	dr_mode = "peripheral";
//	dr_mode = "otg";
};

&gpc {
	fsl,ldo-bypass = <1>;
};

&cpu0{
	arm-supply = <&DA9063_BCORE1>;
	soc-supply = <&DA9063_BCORE2>;
	operating-points = <
		/* kHz	 uV */
		996000 1280000
		768000 1180000
		420000 1150000
	>;
	fsl,soc-operating-points = <
		/* ARM kHz SOC-PU uV */
		996000 1200000
		768000 1200000
		420000 1200000
	>;
};

// OCRAM usage improvements
&vpu {
	iramsize = <0x10000>;
};

&sdma {
	iram = <&ocram>;
};


&ipu1 {
	bypass_reset = <1>;
	// IOMUX_GPR6: ID0 = F (real time), ID1 = 4 (high prio), ID2 = 2 (normal prio)
	axi-id = <&gpr 0x18 0x024F024F>;
};

&ipu2 {
	bypass_reset = <1>;
	// IOMUX_GPR7: ID0 = 4 (high prio)
	axi-id = <&gpr 0x1C 0x00040004>;
};

&reg_arm {
	vin-supply = <&DA9063_BCORE1>;
};

&reg_soc {
	vin-supply = <&DA9063_BCORE2>;
};

&fec {
	/delete-property/ assigned-clocks;
	/delete-property/ assigned-clock-rates;
};

&hdmi_core {
	ipu_id = <1>;
	disp_id = <0>;
	status = "okay";
};

&hdmi_video {
	fsl,phy_reg_vlev = <0x294>;
	fsl,phy_reg_cksymtx = <0x800d>;
	HDMI-supply = <&reg_hdmi>;
	status = "okay";
};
